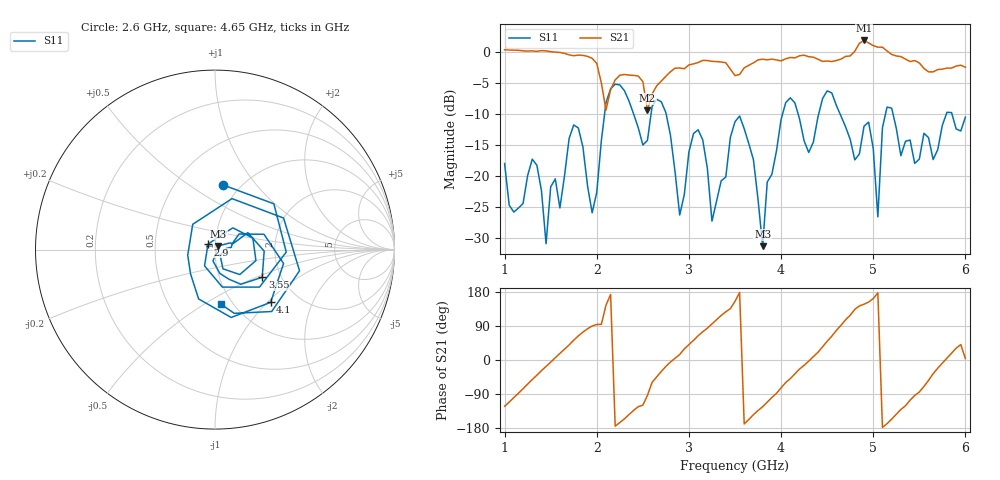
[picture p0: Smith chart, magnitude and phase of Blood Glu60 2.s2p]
! NanoVNA-App
! Date: 2024-03-20 20:33:55
! Start: 1GHz Stop: 6GHz Points: 101
! S-Parameter data: F S11 S21 S12 S22
# Hz S RI R 50
!	Frequency	S11_Real	S11_Imag	S21_Real	S21_Imag	S12_Real	S12_Imag	S22_Real	S22_Imag
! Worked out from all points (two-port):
!   101 points, 1 GHz to 6 GHz, reference 50 ohm
!   highest |S21| = 1.84 dB at 4.9 GHz (marker M1); lowest = -9.4 dB at 2.55 GHz (marker M2)
!   |S21| within 3 dB of the highest: start of sweep to 1.957 GHz; 4.649 GHz to 5.35 GHz (700.3 MHz wide, 14 % of centre)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
!   lowest |S11| = -31.3 dB at 3.8 GHz (marker M3), VSWR 1.06, Z = 51.8 + j2.13 ohm
!   |S11| at or under -10 dB: start of sweep to 2.085 GHz; 2.753 GHz to 4.016 GHz (1.263 GHz wide, 37.3 % of centre); 5.215 GHz to 5.793 GHz (578.5 MHz wide, 10.5 % of centre)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
!   S12 and S22 are empty: the file has one direction only
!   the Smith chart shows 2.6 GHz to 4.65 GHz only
!   S11 on the Smith chart (normalised r, x): 2.6 GHz: 0.83, +0.69; 2.9 GHz: 0.92, +0.05; 3.55 GHz: 1.60, -0.54; 4.1 GHz: 1.45, -1.05; 4.65 GHz: 0.88, -0.59
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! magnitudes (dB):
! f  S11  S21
! 1 GHz  -18.0  0.3
! 1.35 GHz  -18.2  0.1
! 1.45 GHz  -30.9  0.2
! 1.85 GHz  -15.3  -0.6
! 1.95 GHz  -25.9  -1.0
! 2.15 GHz  -6.0  -6.1
! 2.55 GHz  -14.2  -9.4
! 2.6 GHz  -8.8  -6.8
! 2.7 GHz  -8.0  -4.7
! 2.9 GHz  -26.3  -2.6
! 3.1 GHz  -12.5  -1.7
! 3.25 GHz  -27.2  -1.5
! 3.5 GHz  -11.2  -3.8
! 3.55 GHz  -10.3  -3.6
! 3.8 GHz  -31.3  -1.2
! 4.1 GHz  -7.4  -0.9
! 4.35 GHz  -14.5  -0.9
! 4.65 GHz  -10.3  -1.2
! 4.9 GHz  -12.0  1.8
! 5.05 GHz  -26.5  0.8
! 5.2 GHz  -9.0  -0.4
! 6 GHz  -10.5  -2.5
